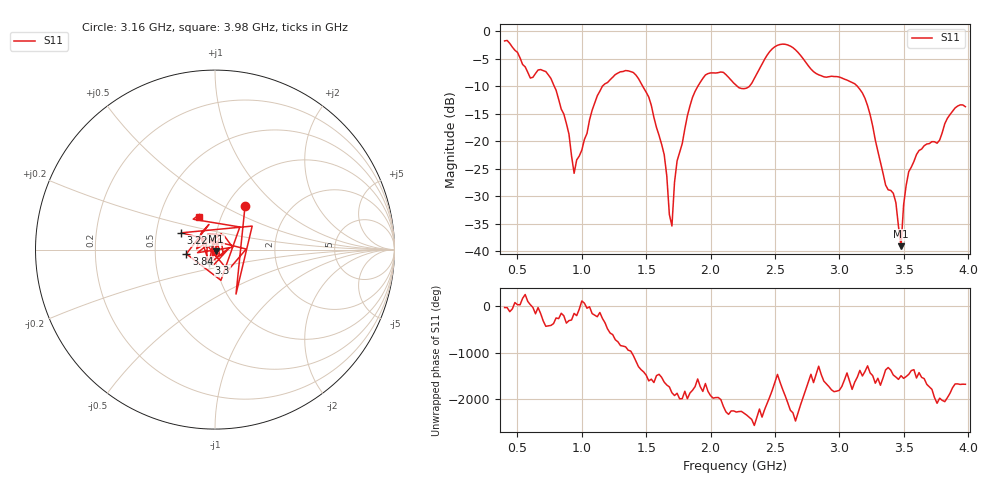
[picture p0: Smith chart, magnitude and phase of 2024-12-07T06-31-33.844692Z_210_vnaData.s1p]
!Created with skrf (http://scikit-rf.org).
# Hz S RI R 50.0
!freq ReS11 ImS11
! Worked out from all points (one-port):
!   180 points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, 400 MHz to 3.98 GHz, reference 50 ohm
!   lowest |S11| = -39.1 dB at 3.48 GHz (marker M1), VSWR 1.02, Z = 50.6 - j0.957 ohm
!   |S11| at or under -10 dB: 785.6 MHz to 1.16 GHz (374.1 MHz wide, 38.5 % of centre); 1.473 GHz to 1.902 GHz (429 MHz wide, 25.4 % of centre); 3.14 GHz to end of sweep (the widest 3 of 4)
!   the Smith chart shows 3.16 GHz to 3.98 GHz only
!   S11 on the Smith chart (normalised r, x): 3.16 GHz: 1.21, +0.65; 3.22 GHz: 0.67, +0.13; 3.3 GHz: 0.93, -0.14; 3.84 GHz: 0.72, -0.04; 3.98 GHz: 0.78, +0.30
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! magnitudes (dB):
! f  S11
! 400 MHz  -1.8
! 600 MHz  -8.5
! 720 MHz  -7.3
! 860 MHz  -15.1
! 940 MHz  -25.9
! 1.12 GHz  -11.8
! 1.3 GHz  -7.4
! 1.52 GHz  -12.0
! 1.64 GHz  -22.5
! 1.7 GHz  -35.4
! 1.72 GHz  -27.5
! 1.76 GHz  -22.1
! 1.86 GHz  -12.0
! 1.96 GHz  -8.0
! 2.2 GHz  -9.9
! 2.3 GHz  -10.1
! 2.5 GHz  -2.8
! 2.64 GHz  -3.0
! 3.1 GHz  -9.3
! 3.16 GHz  -10.6
! 3.22 GHz  -13.5
! 3.3 GHz  -21.8
! 3.44 GHz  -31.2
! 3.48 GHz  -39.1
! 3.5 GHz  -31.6
! 3.54 GHz  -25.5
! 3.84 GHz  -15.9
! 3.98 GHz  -13.7
